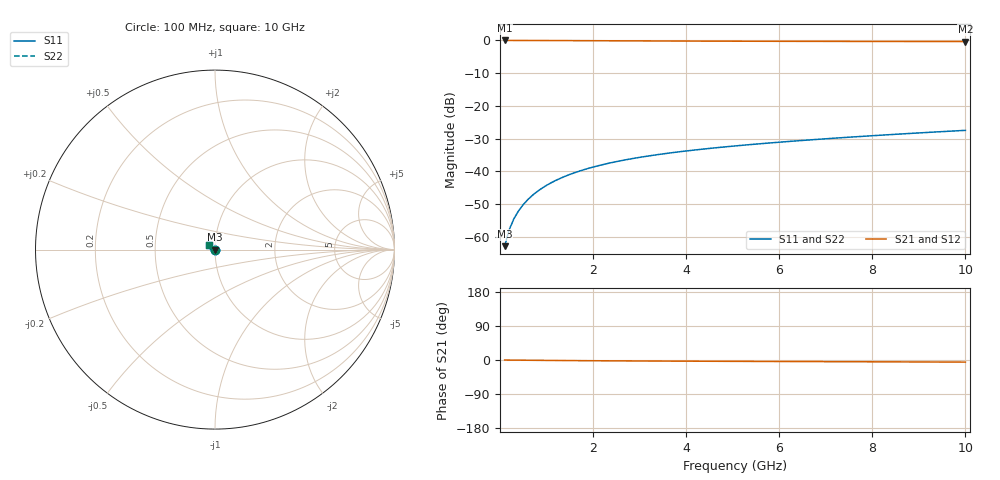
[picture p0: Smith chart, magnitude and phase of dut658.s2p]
! Touchstone file exported from HFSS 2024.1.0
!  File:  C:/UserFiles/LocalFiles/RDL_TSV_Batchsim/temp_TSV1_658_1779792816.aedt
!  Generated:  06:59:23 PM May 26, 2026
!  Design:  TSV1
!  Project:  temp_TSV1_658_1779792816
!  Setup:  Setup1
!  Solution:  Sweep
! Variables:
!  dtsv = 6.24um
!  hbump = 3um
!  htsv = 80.46um
!  lrdl = 252.1521522um
!  p = 40
!  p1 = 56.16um
!  t = 500um
!  trdl = 3um
!  wrdl = 24.89489489um
# GHz S MA R 50.000000
! Terminal data exported
! Port[1] = TSV22_T1
! Port[2] = TSV22_T2
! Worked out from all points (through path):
!   100 points, 100 MHz to 10 GHz, reference 50 ohm
!   highest |S21| = 0.00 dB at 100 MHz (marker M1); lowest = -0.3 dB at 10 GHz (marker M2)
!   lowest |S11| = -62.9 dB at 100 MHz (marker M3), VSWR 1.00, Z = 50 - j0.0631 ohm
!   |S11| at or under -10 dB: start of sweep to end of sweep
!   |S22| runs from -62.9 to -27.5 dB; largest |S21 - S12| = 2.3e-15
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0.1  0.0007158 -61.8  0.9996 -0.1  0.9996 -0.1  0.0007158 -61.8
! Gamma 0 0 0 0
! Port Impedance 50 0 50 0
0.2  0.001283 -78.5  0.9995 -0.2  0.9995 -0.2  0.001283 -78.5
0.3  0.00188 -86.4  0.9994 -0.3  0.9994 -0.3  0.00188 -86.4
0.4  0.002484 -91.7  0.9992 -0.4  0.9992 -0.4  0.002484 -91.7
0.5  0.00309 -95.8  0.9989 -0.5  0.9989 -0.5  0.00309 -95.8
0.6  0.003695 -99.4  0.9986 -0.6  0.9986 -0.6  0.003695 -99.4
0.7  0.004298 -102.7  0.9982 -0.8  0.9982 -0.8  0.004298 -102.7
0.8  0.004898 -105.7  0.9978 -0.9  0.9978 -0.9  0.004898 -105.7
0.9  0.005493 -108.5  0.9974 -1.0  0.9974 -1.0  0.005493 -108.5
1.1  0.006668 -113.9  0.9964 -1.1  0.9964 -1.1  0.006668 -113.9
1.4  0.008379 -121.3  0.9948 -1.4  0.9948 -1.4  0.008379 -121.3
1.6  0.009481 -126.0  0.9935 -1.6  0.9935 -1.6  0.009481 -126.0
1.8  0.01055 -130.5  0.9922 -1.8  0.9922 -1.8  0.01055 -130.5
2.1  0.01209 -136.9  0.9902 -2.0  0.9902 -2.0  0.01209 -136.9
2.5  0.01404 -144.9  0.9875 -2.3  0.9875 -2.3  0.01404 -144.9
2.9  0.01586 -152.3  0.9848 -2.5  0.9848 -2.5  0.01586 -152.3
3.4  0.01801 -160.7  0.9817 -2.8  0.9817 -2.8  0.01801 -160.7
4.2  0.0212 -172.5  0.9774 -3.2  0.9774 -3.2  0.0212 -172.5
5.1  0.02456 176.3  0.9734 -3.6  0.9734 -3.6  0.02456 176.3
6.7  0.0303 160.6  0.9684 -4.2  0.9684 -4.2  0.0303 160.6
8.4  0.03638 148.3  0.9647 -4.9  0.9647 -4.9  0.03638 148.3
10  0.04221 139.4  0.9623 -5.6  0.9623 -5.6  0.04221 139.4
